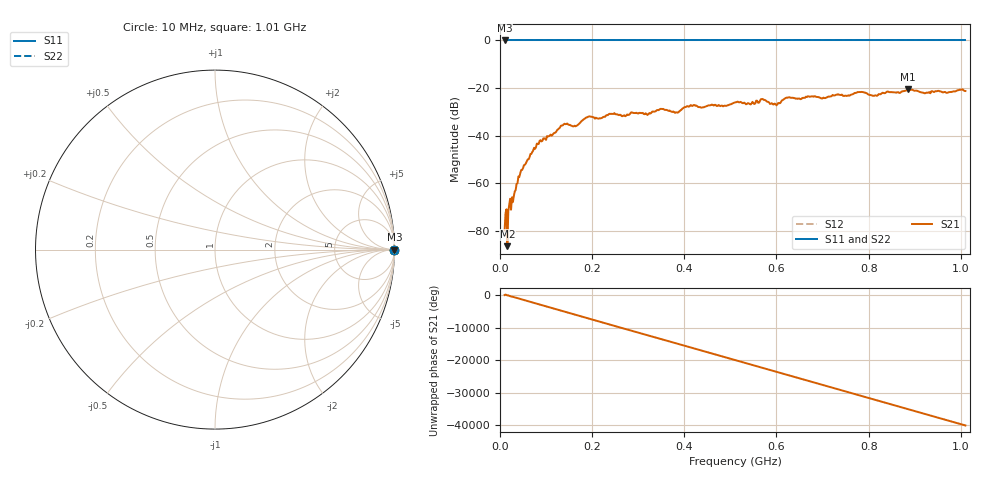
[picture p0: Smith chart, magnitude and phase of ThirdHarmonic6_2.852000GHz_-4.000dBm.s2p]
! 8/17/2025 7:43:20 AM
! C:\ANRITSUVNA\TEMP\TEMP.S2P
! CHANNEL.1
! TR.MEASUREMENT
! RAW.DATA
! RF.CORRECTION.OFF
! AVERAGING.OFF
! IF.BANDWIDTH: 5KHZ
! SWEEPTYPE:  FREQ.SWEEP(Linear)
! Reference Plane Port Info
! PORT:  PORT1  PORT2
! DISTANCE:  0  m  0  m
! TIME:  0  s  0  s
! PHASE.OFFSET:  0  deg.  0  deg.
! LOSS:  0  dB  0  dB
! REF.LOSS:  0  dB  0  dB
! REF.FREQ:  0  Hz  0  Hz
! Power Info
! POWER:  -20  dBm  -20  dBm
! EFF.POWER:  -20  dBm  -20  dBm
! SOURCE.ATTEN:  0  dB  0  dB
! TEST.ATTEN:  0  dB  0  dB
# GHZ S RI R 50.0
! FREQ.GHZ  S11RE  S11IM  S21RE  S21IM  S12RE  S12IM  S22RE  S22IM
!; PortSelection: Port_12
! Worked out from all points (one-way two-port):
!   501 points, 10 MHz to 1.01 GHz, reference 50 ohm
!   highest |S21| = -20.50 dB at 886 MHz (marker M1); lowest = -86.5 dB at 16 MHz (marker M2)
!   lowest |S11| = 0.0 dB at 10 MHz (marker M3)
!   |S11| at or under -10 dB: nowhere
!   |S22| runs from 0.0 to 0.0 dB; largest |S21 - S12| = 1.1
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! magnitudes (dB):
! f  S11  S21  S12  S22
! 10 MHz  0.0  -79.7  0.0  0.0
! 12 MHz  0.0  -72.6  0.0  0.0
! 16 MHz  0.0  -86.5  0.0  0.0
! 20 MHz  0.0  -69.1  0.0  0.0
! 44 MHz  0.0  -55.8  0.0  0.0
! 84 MHz  0.0  -43.5  0.0  0.0
! 136 MHz  0.0  -35.7  0.0  0.0
! 162 MHz  0.0  -35.8  0.0  0.0
! 178 MHz  0.0  -33.8  0.0  0.0
! 194 MHz  0.0  -31.9  0.0  0.0
! 322 MHz  0.0  -30.9  0.0  0.0
! 344 MHz  0.0  -29.3  0.0  0.0
! 384 MHz  0.0  -30.3  0.0  0.0
! 416 MHz  0.0  -27.4  0.0  0.0
! 510 MHz  0.0  -26.0  0.0  0.0
! 570 MHz  0.0  -24.6  0.0  0.0
! 598 MHz  0.0  -26.8  0.0  0.0
! 624 MHz  0.0  -24.1  0.0  0.0
! 678 MHz  0.0  -23.5  0.0  0.0
! 844 MHz  0.0  -21.7  0.0  0.0
! 886 MHz  0.0  -20.5  0.0  0.0
! 1.01 GHz  0.0  -21.2  0.0  0.0
